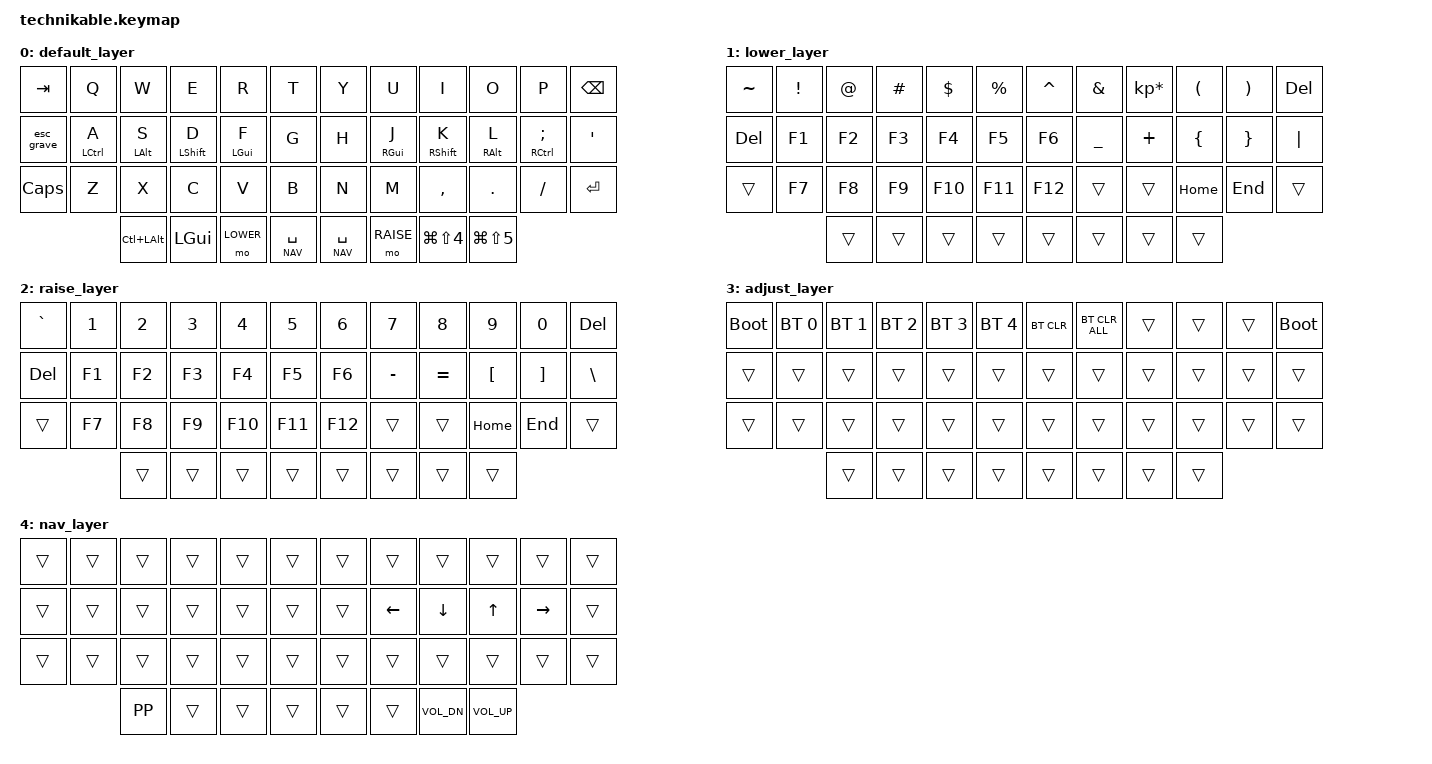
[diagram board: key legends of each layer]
/*
 * Copyright (c) 2022 Pete Johanson
 *
 * SPDX-License-Identifier: MIT
 */

#include <behaviors.dtsi>
#include <dt-bindings/zmk/keys.h>
#include <dt-bindings/zmk/bt.h>
#include <dt-bindings/zmk/outputs.h>

#define DEFAULT 0
#define LOWER 1
#define RAISE 2
#define ADJUST 3
#define NAV 4

/ {
    conditional_layers {
        compatible = "zmk,conditional-layers";
        tri_layer {
            if-layers = <1 2>;
            then-layer = <3>;
        };
    };
};

/ {
    behaviors {
        hm: homerow_mods {
            compatible = "zmk,behavior-hold-tap";
            #binding-cells = <2>;
            tapping-term-ms = <200>;
            quick-tap-ms = <0>;
            flavor = "tap-preferred";
            bindings = <&kp>, <&kp>;
        };

        // Esc, but Cmd+Esc sends Cmd+` so app/window cycling sits on Tab/Esc like a normal keyboard's Tab/`
        esc_grave: esc_grave {
            compatible = "zmk,behavior-mod-morph";
            #binding-cells = <0>;
            bindings = <&kp ESC>, <&kp GRAVE>;
            mods = <(MOD_LGUI|MOD_RGUI)>;
            keep-mods = <(MOD_LGUI|MOD_RGUI)>;
        };
    };

    keymap {
            compatible = "zmk,keymap";

            default_layer {
                            bindings = <
    &kp TAB    &kp Q      &kp W      &kp E          &kp R          &kp T          &kp Y            &kp U          &kp I        &kp O      &kp P         &kp BKSP
    &esc_grave &hm LCTRL A &hm LALT S &hm LSHFT D   &hm LGUI F     &kp G          &kp H            &hm RGUI J     &hm RSHFT K  &hm RALT L &hm RCTRL SEMI &kp SQT
    &kp CAPS   &kp Z      &kp X      &kp C          &kp V          &kp B          &kp N            &kp M          &kp COMMA    &kp DOT    &kp FSLH      &kp RET
                          &kp LC(LALT) &kp LGUI     &mo LOWER      &lt NAV SPACE  &lt NAV SPACE    &mo RAISE      &kp LG(LS(N4)) &kp LG(LS(N5))
                            >;
            };

            lower_layer {
                        bindings = <
   &kp TILDE &kp EXCL &kp AT   &kp HASH &kp DLLR &kp PRCNT   &kp CARET &kp AMPS  &kp KP_MULTIPLY &kp LPAR &kp RPAR &kp DEL
   &kp DEL   &kp F1   &kp F2   &kp F3   &kp F4   &kp F5      &kp F6    &kp UNDER &kp PLUS        &kp LBRC &kp RBRC &kp PIPE
   &trans   &kp F7   &kp F8   &kp F9   &kp F10  &kp F11     &kp F12   &trans    &trans          &kp HOME &kp END  &trans
                      &trans   &trans   &trans   &trans      &trans    &trans    &trans          &trans   
                        >;
            };

            raise_layer {
                        bindings = <
   &kp GRAVE &kp N1   &kp N2   &kp N3   &kp N4   &kp N5      &kp N6    &kp N7    &kp N8    &kp N9    &kp N0   &kp DEL
   &kp DEL   &kp F1   &kp F2   &kp F3   &kp F4   &kp F5      &kp F6    &kp MINUS &kp EQUAL &kp LBKT  &kp RBKT &kp BSLH
   &trans    &kp F7   &kp F8   &kp F9   &kp F10  &kp F11     &kp F12   &trans    &trans    &kp HOME  &kp END  &trans
                      &trans   &trans   &trans   &trans      &trans    &trans    &trans    &trans   
                        >;
            };

            adjust_layer {
                        bindings = <
   &bootloader  &bt BT_SEL 0 &bt BT_SEL 1 &bt BT_SEL 2 &bt BT_SEL 3 &bt BT_SEL 4   &bt BT_CLR   &bt BT_CLR_ALL &trans &trans &trans &bootloader
   &trans       &trans       &trans       &trans       &trans       &trans         &trans       &trans  &trans  &trans  &trans  &trans
   &trans       &trans       &trans       &trans       &trans       &trans         &trans       &trans  &trans  &trans  &trans  &trans
                             &trans       &trans       &trans       &trans         &trans       &trans  &trans  &trans   
                        >;  
            };

            nav_layer {
                        bindings = <
   &trans    &trans    &trans    &trans   &trans    &trans     &trans   &trans    &trans    &trans  &trans     &trans
   &trans    &trans    &trans    &trans   &trans    &trans     &trans   &kp LEFT  &kp DOWN  &kp UP  &kp RIGHT  &trans
   &trans    &trans    &trans    &trans   &trans    &trans     &trans   &trans    &trans    &trans  &trans     &trans
                       &kp K_PP  &trans   &trans     &trans   &trans    &trans    &kp K_VOL_DN &kp K_VOL_UP
                        >;
            };
    };
};
